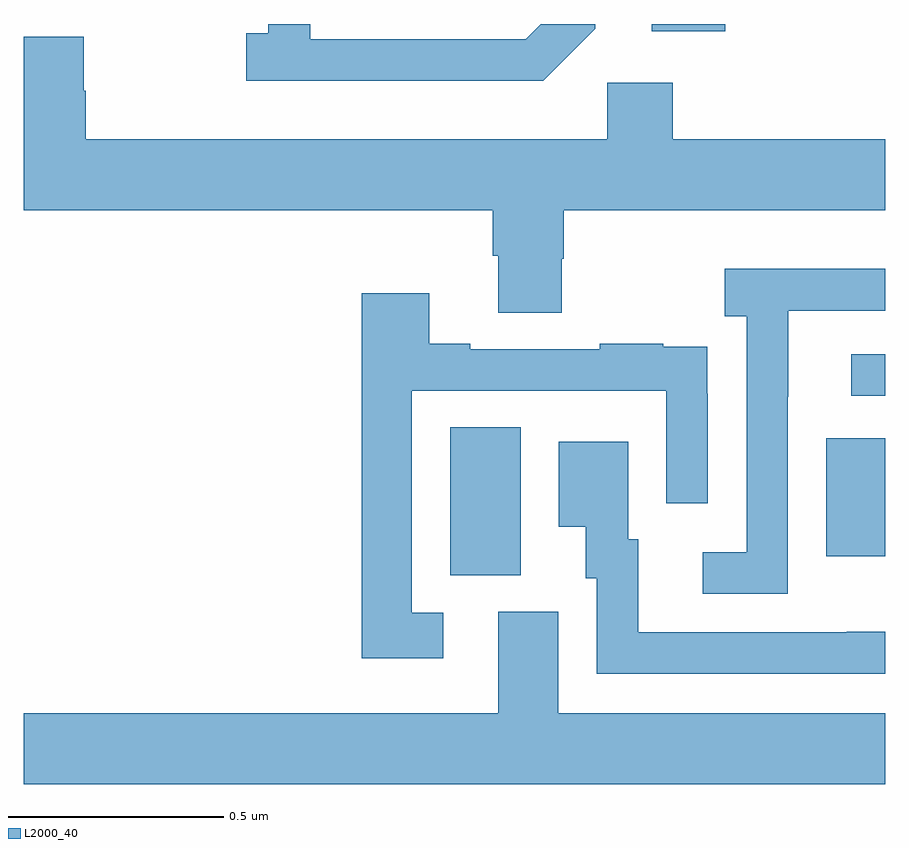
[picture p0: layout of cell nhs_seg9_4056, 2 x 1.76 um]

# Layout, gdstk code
import gdstk
lib = gdstk.Library(unit=1e-6, precision=1e-09)
def R(c, l, rs):  # rectangles x0, y0, x1, y1
    for r in rs: c.add(gdstk.rectangle(r[:2], r[2:], *l))
def P(c, l, *ps):  # polygons
    for p in ps: c.add(gdstk.Polygon(p, *l))
L2000_40 = (2000, 40)

nhs_seg9_4056 = lib.new_cell('nhs_seg9_4056')
R(nhs_seg9_4056, L2000_40, [(161.99,1214.221,162.154,1214.564), (162.863,1214.265,163,1214.539), (162.921,1214.637,163,1214.733), (162.458,1215.483,162.629,1215.5)])
P(nhs_seg9_4056, L2000_40, [(162.327,1215.489),(162.327,1215.5),(162.2,1215.5),(162.165,1215.465),(161.665,1215.465),(161.665,1215.5),(161.568,1215.5),(161.568,1215.478),(161.517,1215.478),(161.517,1215.368),(162.206,1215.368)],
  [(161.144,1215.345),(161.139,1215.345),(161.139,1215.47),(161,1215.47),(161,1215.068),(162.089,1215.068),(162.089,1214.962),(162.101,1214.962),(162.101,1214.83),(162.249,1214.83),(162.249,1214.955),(162.254,1214.955),(162.254,1215.068),(163,1215.068),(163,1215.232),(162.506,1215.232),(162.506,1215.364),(162.354,1215.364),(162.354,1215.232),(161.144,1215.232)],
  [(162.774,1214.635),(162.775,1214.635),(162.775,1214.835),(163,1214.835),(163,1214.932),(162.627,1214.932),(162.627,1214.822),(162.678,1214.822),(162.678,1214.274),(162.576,1214.274),(162.576,1214.178),(162.774,1214.178)],
  [(161.974,1214.133),(161.901,1214.133),(161.901,1214.649),(162.492,1214.649),(162.492,1214.388),(162.588,1214.388),(162.588,1214.642),(162.587,1214.642),(162.587,1214.751),(162.485,1214.751),(162.485,1214.758),(162.337,1214.758),(162.337,1214.745),(162.037,1214.745),(162.037,1214.758),(161.941,1214.758),(161.941,1214.875),(161.785,1214.875),(161.785,1214.028),(161.974,1214.028)],
  [(163,1214.089),(162.911,1214.089),(162.911,1214.088),(162.427,1214.088),(162.427,1214.304),(162.403,1214.304),(162.403,1214.53),(162.242,1214.53),(162.242,1214.333),(162.305,1214.333),(162.305,1214.214),(162.33,1214.214),(162.33,1213.992),(163,1213.992)],
  [(163,1213.9),(162.241,1213.9),(162.241,1214.136),(162.101,1214.136),(162.101,1213.9),(161,1213.9),(161,1213.736),(163,1213.736)])

lib.write_gds('nhs_seg9_4056.gds')
